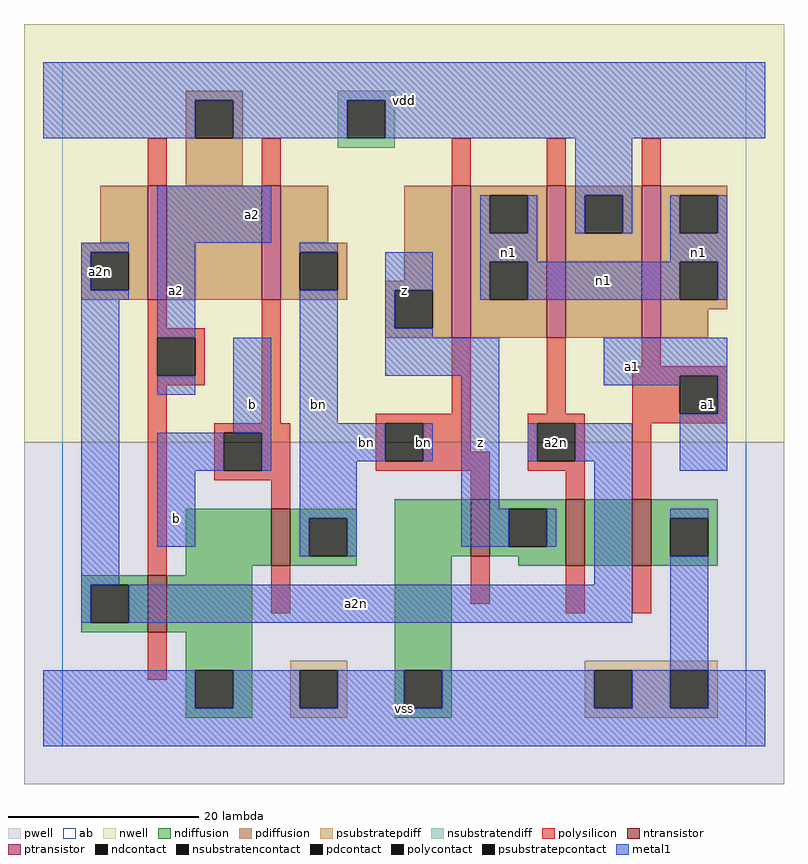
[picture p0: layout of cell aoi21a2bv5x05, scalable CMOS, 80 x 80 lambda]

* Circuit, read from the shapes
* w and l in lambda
.subckt aoi21a2bv5x05 a1 a2 a2n b bn n1 vdd vss z
M1 vss a2 a2n vss nfet w=6 l=2
M2 bn b vss vss nfet w=6 l=2
M3 z bn vss vss nfet w=6 l=2
M4 n2 a2n z vss nfet w=7 l=2
M5 vss a1 n2 vss nfet w=7 l=2
M6 vdd a2 a2n vdd pfet w=12 l=2
M7 bn b vdd vdd pfet w=12 l=2
M8 n1 bn z vdd pfet w=16 l=2
M9 vdd a2n n1 vdd pfet w=16 l=2
M10 n1 a1 vdd vdd pfet w=16 l=2
.ends

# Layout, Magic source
magic
tech scmos
<< ab >>
rect 0 0 72 72
<< pwell >>
rect -4 -4 76 32
<< nwell >>
rect -4 32 76 76
<< polysilicon >>
rect 9 59 11 64
rect 21 59 23 64
rect 41 59 43 64
rect 51 59 53 64
rect 61 59 63 64
rect 9 44 11 47
rect 9 43 15 44
rect 9 39 10 43
rect 14 39 15 43
rect 9 38 15 39
rect 9 18 11 38
rect 21 34 23 47
rect 41 35 43 43
rect 51 35 53 43
rect 61 40 63 43
rect 60 39 70 40
rect 60 35 65 39
rect 69 35 70 39
rect 33 34 43 35
rect 16 33 24 34
rect 16 29 17 33
rect 21 29 24 33
rect 33 30 34 34
rect 38 31 43 34
rect 49 34 55 35
rect 38 30 45 31
rect 33 29 45 30
rect 49 30 50 34
rect 54 30 55 34
rect 49 29 55 30
rect 16 28 24 29
rect 22 25 24 28
rect 43 26 45 29
rect 53 26 55 29
rect 60 34 70 35
rect 60 26 62 34
rect 22 14 24 19
rect 9 7 11 12
rect 43 15 45 20
rect 53 14 55 19
rect 60 14 62 19
<< ndiffusion >>
rect 13 19 22 25
rect 24 24 31 25
rect 24 20 26 24
rect 30 20 31 24
rect 24 19 31 20
rect 35 20 43 26
rect 45 25 53 26
rect 45 21 47 25
rect 51 21 53 25
rect 45 20 53 21
rect 13 18 20 19
rect 2 17 9 18
rect 2 13 3 17
rect 7 13 9 17
rect 2 12 9 13
rect 11 12 20 18
rect 13 8 20 12
rect 13 4 14 8
rect 18 4 20 8
rect 13 3 20 4
rect 35 8 41 20
rect 48 19 53 20
rect 55 19 60 26
rect 62 24 69 26
rect 62 20 64 24
rect 68 20 69 24
rect 62 19 69 20
rect 35 4 36 8
rect 40 4 41 8
rect 35 3 41 4
<< pdiffusion >>
rect 13 68 19 69
rect 13 64 14 68
rect 18 64 19 68
rect 13 59 19 64
rect 4 53 9 59
rect 2 52 9 53
rect 2 48 3 52
rect 7 48 9 52
rect 2 47 9 48
rect 11 47 21 59
rect 23 53 28 59
rect 23 52 30 53
rect 23 48 25 52
rect 29 48 30 52
rect 36 49 41 59
rect 23 47 30 48
rect 34 48 41 49
rect 34 44 35 48
rect 39 44 41 48
rect 34 43 41 44
rect 43 58 51 59
rect 43 54 45 58
rect 49 54 51 58
rect 43 51 51 54
rect 43 47 45 51
rect 49 47 51 51
rect 43 43 51 47
rect 53 58 61 59
rect 53 54 55 58
rect 59 54 61 58
rect 53 43 61 54
rect 63 58 70 59
rect 63 54 65 58
rect 69 54 70 58
rect 63 51 70 54
rect 63 47 65 51
rect 69 47 70 51
rect 63 46 70 47
rect 63 43 68 46
<< metal1 >>
rect -2 68 74 72
rect -2 64 14 68
rect 18 64 30 68
rect 34 64 74 68
rect 10 53 22 59
rect 54 58 60 64
rect 44 54 45 58
rect 49 54 50 58
rect 54 54 55 58
rect 59 54 60 58
rect 64 54 65 58
rect 69 54 70 58
rect 2 52 7 53
rect 2 48 3 52
rect 2 47 7 48
rect 2 17 6 47
rect 10 43 14 53
rect 25 52 29 53
rect 10 37 14 39
rect 18 33 22 43
rect 10 29 17 33
rect 21 29 22 33
rect 25 34 29 48
rect 34 48 39 52
rect 34 44 35 48
rect 44 51 50 54
rect 64 51 70 54
rect 44 47 45 51
rect 49 47 65 51
rect 69 47 70 51
rect 34 43 39 44
rect 34 39 46 43
rect 25 30 34 34
rect 38 30 39 34
rect 10 21 14 29
rect 25 24 31 30
rect 25 20 26 24
rect 30 20 31 24
rect 42 25 46 39
rect 57 39 70 43
rect 57 38 65 39
rect 69 35 70 39
rect 49 30 50 34
rect 54 30 60 34
rect 42 21 47 25
rect 51 21 52 25
rect 56 17 60 30
rect 65 29 70 35
rect 2 13 3 17
rect 7 13 60 17
rect 64 24 68 25
rect 64 8 68 20
rect -2 4 14 8
rect 18 4 25 8
rect 29 4 36 8
rect 40 4 56 8
rect 60 4 64 8
rect 68 4 74 8
rect -2 0 74 4
<< ntransistor >>
rect 22 19 24 25
rect 43 20 45 26
rect 9 12 11 18
rect 53 19 55 26
rect 60 19 62 26
<< ptransistor >>
rect 9 47 11 59
rect 21 47 23 59
rect 41 43 43 59
rect 51 43 53 59
rect 61 43 63 59
<< polycontact >>
rect 10 39 14 43
rect 65 35 69 39
rect 17 29 21 33
rect 34 30 38 34
rect 50 30 54 34
<< ndcontact >>
rect 26 20 30 24
rect 47 21 51 25
rect 3 13 7 17
rect 14 4 18 8
rect 64 20 68 24
rect 36 4 40 8
<< pdcontact >>
rect 14 64 18 68
rect 3 48 7 52
rect 25 48 29 52
rect 35 44 39 48
rect 45 54 49 58
rect 45 47 49 51
rect 55 54 59 58
rect 65 54 69 58
rect 65 47 69 51
<< psubstratepcontact >>
rect 25 4 29 8
rect 56 4 60 8
rect 64 4 68 8
<< nsubstratencontact >>
rect 30 64 34 68
<< psubstratepdiff >>
rect 24 8 30 9
rect 24 4 25 8
rect 29 4 30 8
rect 24 3 30 4
rect 55 8 69 9
rect 55 4 56 8
rect 60 4 64 8
rect 68 4 69 8
rect 55 3 69 4
<< nsubstratendiff >>
rect 29 68 35 69
rect 29 64 30 68
rect 34 64 35 68
rect 29 63 35 64
<< labels >>
rlabel polysilicon 38 32 38 32 6 bn
rlabel polycontact 52 32 52 32 6 a2n
rlabel metal1 12 24 12 24 6 b
rlabel pdcontact 4 50 4 50 6 a2n
rlabel metal1 12 48 12 48 6 a2
rlabel metal1 27 36 27 36 6 bn
rlabel metal1 20 36 20 36 6 b
rlabel metal1 20 56 20 56 6 a2
rlabel metal1 36 4 36 4 6 vss
rlabel metal1 32 32 32 32 6 bn
rlabel metal1 44 32 44 32 6 z
rlabel metal1 36 48 36 48 6 z
rlabel metal1 47 52 47 52 6 n1
rlabel metal1 36 68 36 68 6 vdd
rlabel metal1 31 15 31 15 6 a2n
rlabel metal1 54 32 54 32 6 a2n
rlabel metal1 60 40 60 40 6 a1
rlabel polycontact 68 36 68 36 6 a1
rlabel metal1 57 49 57 49 6 n1
rlabel metal1 67 52 67 52 6 n1
<< end >>
